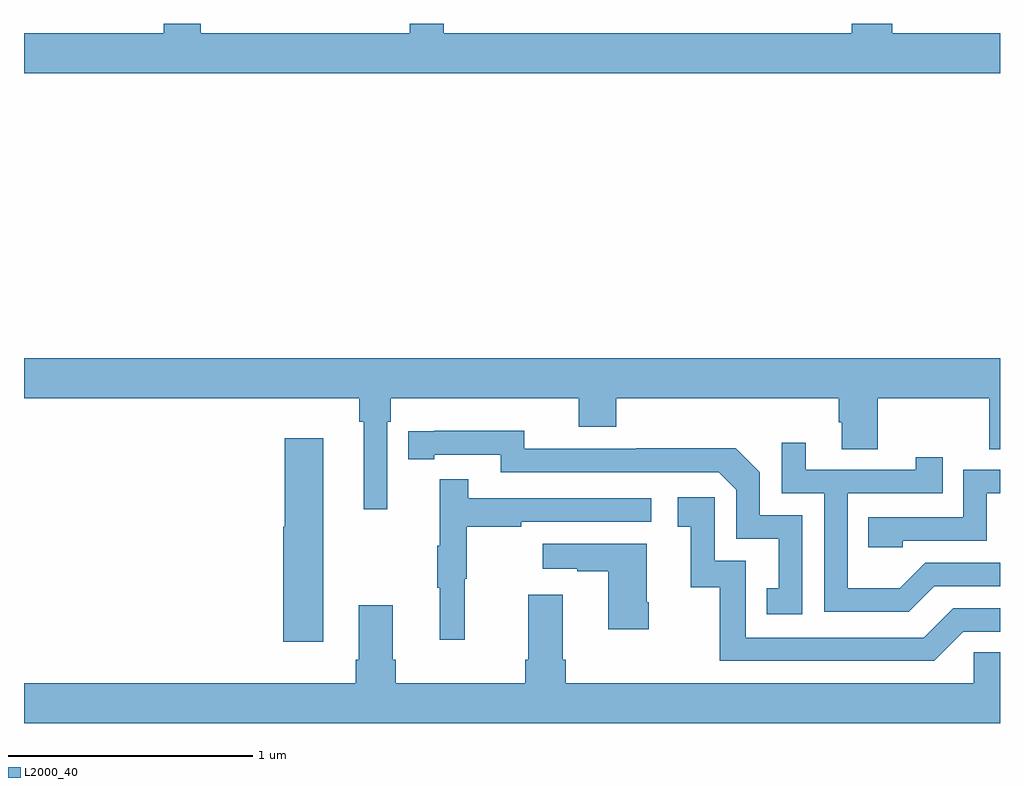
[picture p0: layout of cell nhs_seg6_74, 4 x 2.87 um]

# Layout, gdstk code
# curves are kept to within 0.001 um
import gdstk
lib = gdstk.Library(unit=1e-6, precision=1e-09)
def P(c, l, *ps):  # polygons
    for p in ps: c.add(gdstk.Polygon(p, *l))
L2000_40 = (2000, 40)

nhs_seg6_74 = lib.new_cell('nhs_seg6_74')
P(nhs_seg6_74, L2000_40, [(117,987.46),(116.558,987.46),(116.558,987.5),(116.393,987.5),(116.393,987.46),(114.72,987.46),(114.72,987.5),(114.581,987.5),(114.581,987.46),(113.725,987.46),(113.725,987.5),(113.573,987.5),(113.573,987.46),(113,987.46),(113,987.296),(117,987.296)],
  [(114.489,985.868),(114.503,985.868),(114.503,985.964),(115.274,985.964),(115.274,985.847),(115.427,985.847),(115.427,985.964),(116.339,985.964),(116.339,985.866),(116.351,985.866),(116.351,985.756),(116.499,985.756),(116.499,985.964),(116.956,985.964),(116.956,985.756),(117,985.756),(117,986.128),(113,986.128),(113,985.964),(114.373,985.964),(114.373,985.868),(114.392,985.868),(114.392,985.509),(114.489,985.509)],
  [(116.19,985.485),(116.016,985.485),(116.016,985.662),(115.918,985.76),(115.51,985.76),(115.51,985.758),(115.05,985.758),(115.05,985.831),(114.574,985.83),(114.574,985.714),(114.682,985.714),(114.682,985.734),(114.954,985.734),(114.954,985.662),(115.848,985.662),(115.92,985.59),(115.92,985.389),(116.093,985.389),(116.093,985.185),(116.044,985.185),(116.044,985.08),(116.19,985.08)],
  [(114.226,985.801),(114.068,985.801),(114.068,985.437),(114.062,985.437),(114.062,984.966),(114.226,984.966)],
  [(116.731,985.194),(117,985.194),(117,985.29),(116.694,985.29),(116.59,985.186),(116.376,985.186),(116.376,985.575),(116.765,985.575),(116.765,985.723),(116.654,985.723),(116.654,985.671),(116.203,985.671),(116.203,985.783),(116.106,985.783),(116.106,985.575),(116.28,985.575),(116.28,985.089),(116.626,985.089)],
  [(116.601,985.38),(116.946,985.38),(116.946,985.575),(117,985.575),(117,985.671),(116.85,985.671),(116.85,985.476),(116.461,985.476),(116.461,985.353),(116.601,985.353)],
  [(114.806,985.224),(114.814,985.224),(114.814,985.438),(115.037,985.438),(115.037,985.458),(115.57,985.458),(115.57,985.554),(114.821,985.554),(114.821,985.633),(114.704,985.633),(114.704,985.361),(114.693,985.361),(114.693,985.187),(114.704,985.187),(114.704,984.975),(114.806,984.975)],
  [(116.85,985.008),(117,985.008),(117,985.104),(116.808,985.104),(116.688,984.984),(115.959,984.984),(115.959,985.299),(115.83,985.299),(115.83,985.558),(115.68,985.558),(115.68,985.437),(115.733,985.437),(115.733,985.191),(115.851,985.191),(115.851,984.888),(116.73,984.888)],
  [(115.56,985.129),(115.552,985.129),(115.552,985.369),(115.125,985.369),(115.125,985.265),(115.268,985.265),(115.268,985.255),(115.394,985.255),(115.394,985.017),(115.56,985.017)],
  [(117,984.923),(116.892,984.923),(116.892,984.796),(115.22,984.796),(115.22,984.892),(115.207,984.892),(115.207,985.159),(115.067,985.159),(115.067,984.892),(115.055,984.892),(115.055,984.796),(114.524,984.796),(114.524,984.892),(114.511,984.892),(114.511,985.117),(114.371,985.117),(114.371,984.892),(114.359,984.892),(114.359,984.796),(113,984.796),(113,984.632),(117,984.632)])

lib.write_gds('nhs_seg6_74.gds')
